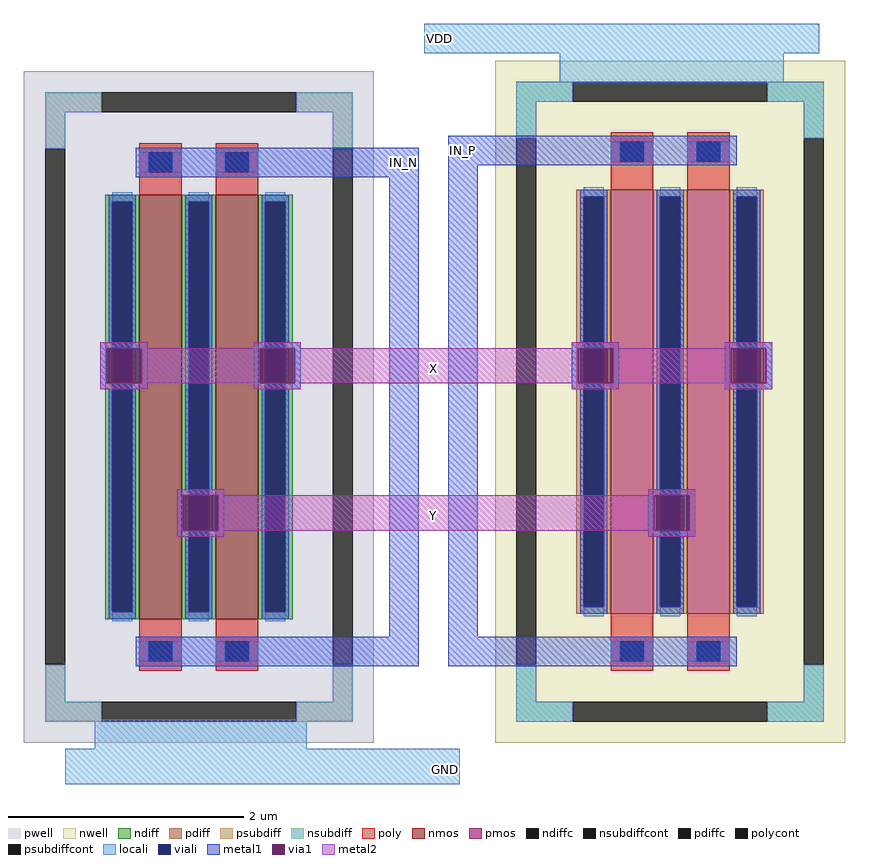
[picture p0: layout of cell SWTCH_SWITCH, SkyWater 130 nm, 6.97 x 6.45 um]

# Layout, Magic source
magic
tech sky130A
magscale 1 2
<< locali >>
rect 480 970 1150 1020
rect 710 920 1090 970
rect -80 -210 280 -160
rect -130 -270 540 -210
<< metal1 >>
rect -10 760 470 810
rect -70 470 10 480
rect -70 410 -60 470
rect 0 410 10 470
rect -70 400 10 410
rect 190 470 270 480
rect 190 410 200 470
rect 260 410 270 470
rect 190 400 270 410
rect 60 220 140 230
rect 60 160 70 220
rect 130 160 140 220
rect 60 150 140 160
rect 420 -20 470 760
rect -10 -70 470 -20
rect 520 780 1010 830
rect 520 -20 570 780
rect 730 470 810 480
rect 730 410 740 470
rect 800 410 810 470
rect 730 400 810 410
rect 990 470 1070 480
rect 990 410 1000 470
rect 1060 410 1070 470
rect 990 400 1070 410
rect 860 220 940 230
rect 860 160 870 220
rect 930 160 940 220
rect 860 150 940 160
rect 520 -70 1010 -20
<< via1 >>
rect -60 410 0 470
rect 200 410 260 470
rect 70 160 130 220
rect 740 410 800 470
rect 1000 410 1060 470
rect 870 160 930 220
<< metal2 >>
rect -70 470 10 480
rect 190 470 270 480
rect 730 470 810 480
rect 990 470 1070 480
rect -70 410 -60 470
rect 0 410 200 470
rect 260 410 740 470
rect 800 410 1000 470
rect 1060 410 1070 470
rect -70 400 10 410
rect 190 400 270 410
rect 730 400 810 410
rect 990 400 1070 410
rect 60 220 140 230
rect 860 220 940 230
rect 60 160 70 220
rect 130 160 870 220
rect 930 160 940 220
rect 60 150 140 160
rect 860 150 940 160
use sky130_fd_pr__nfet_01v8_5CE34N  sky130_fd_pr__nfet_01v8_5CE34N_0
transform 1 0 97 0 1 370
box -297 -570 297 570
use sky130_fd_pr__pfet_01v8_48NGR2  sky130_fd_pr__pfet_01v8_48NGR2_0
transform 1 0 897 0 1 379
box -297 -579 297 579
<< labels >>
rlabel locali 480 970 530 1020 1 VDD
port 1 n
rlabel locali 490 -270 540 -220 1 GND
port 2 n
rlabel metal2 480 420 510 450 1 X
port 3 n
rlabel metal2 480 170 510 200 1 Y
port 4 n
rlabel metal1 430 770 460 800 1 IN_N
port 5 n
rlabel metal1 530 790 560 820 1 IN_P
port 6 n
<< end >>

# cell sky130_fd_pr__nfet_01v8_5CE34N: kit device sky130_fd_pr__nfet_01v8, w 3.6 l 0.36 m 1 nf 2 diffcov 100 polycov 100 guard 1 glc 1 grc 1 gtc 1 gbc 1 tbcov 100 rlcov 100 topc 1 botc 1 poverlap 0 doverlap 1 lmin 0.15 wmin 0.42 compatible {sky130_fd_pr__nfet_01v8 sky130_fd_pr__nfet_01v8_lvt sky130_fd_bs_flash__special_sonosfet_star sky130_fd_pr__nfet_g5v0d10v5 sky130_fd_pr__nfet_05v0_nvt sky130_fd_pr__nfet_03v3_nvt} full_metal 1 viasrc 100 viadrn 100 viagate 100 viagb 0 viagr 0 viagl 0 viagt 0

# cell sky130_fd_pr__pfet_01v8_48NGR2: kit device sky130_fd_pr__pfet_01v8, w 3.6 l 0.36 m 1 nf 2 diffcov 100 polycov 100 guard 1 glc 1 grc 1 gtc 1 gbc 1 tbcov 100 rlcov 100 topc 1 botc 1 poverlap 0 doverlap 1 lmin 0.15 wmin 0.42 compatible {sky130_fd_pr__pfet_01v8 sky130_fd_pr__pfet_01v8_lvt sky130_fd_pr__pfet_01v8_hvt sky130_fd_pr__pfet_g5v0d10v5} full_metal 1 viasrc 100 viadrn 100 viagate 100 viagb 0 viagr 0 viagl 0 viagt 0
